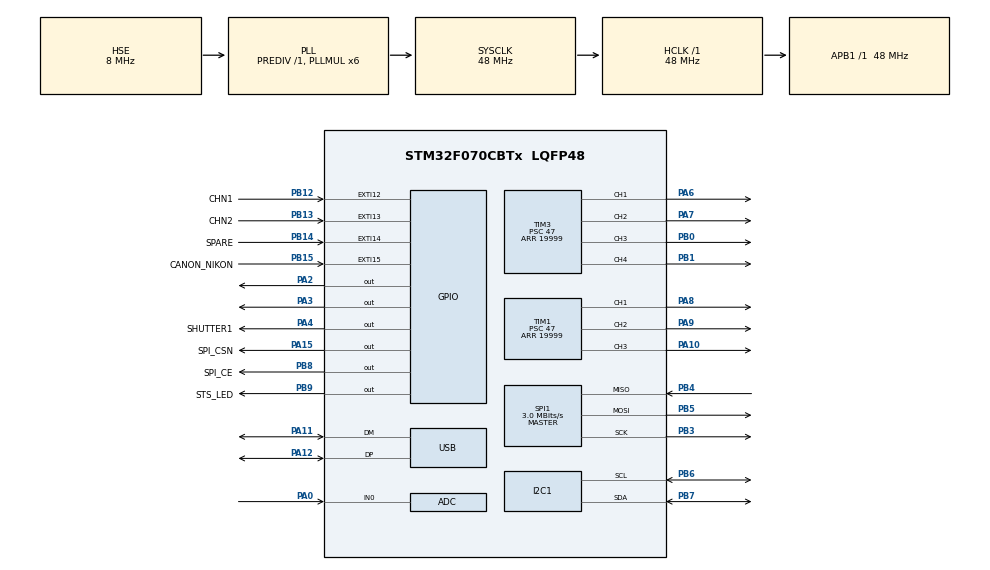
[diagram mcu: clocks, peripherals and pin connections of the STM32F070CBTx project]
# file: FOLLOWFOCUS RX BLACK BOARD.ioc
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ADC.ClockPrescaler=ADC_CLOCK_ASYNC_DIV1
ADC.ContinuousConvMode=ENABLE
ADC.DMAContinuousRequests=ENABLE
ADC.DataAlign=ADC_DATAALIGN_RIGHT
ADC.DiscontinuousConvMode=DISABLE
ADC.EOCSelection=ADC_EOC_SEQ_CONV
ADC.EnableAnalogWatchDog=false
ADC.ExternalTrigConv=ADC_SOFTWARE_START
ADC.ExternalTrigConvEdge=ADC_EXTERNALTRIGCONVEDGE_NONE
ADC.LowPowerAutoPowerOff=DISABLE
ADC.LowPowerAutoWait=DISABLE
ADC.Overrun=ADC_OVR_DATA_PRESERVED
ADC.Resolution=ADC_RESOLUTION_12B
ADC.SamplingTime=ADC_SAMPLETIME_239CYCLES_5
ADC.ScanConvMode=ADC_SCAN_DIRECTION_FORWARD
Dma.ADC.0.Direction=DMA_PERIPH_TO_MEMORY
Dma.ADC.0.Instance=DMA1_Channel1
Dma.ADC.0.MemDataAlignment=DMA_MDATAALIGN_HALFWORD
Dma.ADC.0.MemInc=DMA_MINC_ENABLE
Dma.ADC.0.Mode=DMA_CIRCULAR
Dma.ADC.0.PeriphDataAlignment=DMA_PDATAALIGN_HALFWORD
Dma.ADC.0.PeriphInc=DMA_PINC_DISABLE
Dma.ADC.0.Priority=DMA_PRIORITY_LOW
Dma.Request0=ADC
FREERTOS.Tasks01=defaultTask,0,512,StartDefaultTask,Default,NULL,Dynamic,NULL,NULL
FREERTOS.Timers01=servoCalcPos,servoCalcPosCallback,osTimerPeriodic,Default,NULL,Dynamic,NULL
FREERTOS.configTOTAL_HEAP_SIZE=5000
FREERTOS.configUSE_TIMERS=1
Mcu.Family=STM32F0
Mcu.Name=STM32F070CBTx
Mcu.Package=LQFP48
NVIC.DMA1_Channel1_IRQn=true\:3\:0\:false\:false\:true\:true\:false
NVIC.SPI1_IRQn=true\:3\:0\:false\:false\:true\:true\:true
NVIC.USB_IRQn=true\:3\:0\:false\:false\:true\:true\:false
PA0.Mode=IN0
PA0.Signal=ADC_IN0
PA10.Signal=S_TIM1_CH3
PA11.Mode=Device
PA11.Signal=USB_DM
PA12.Mode=Device
PA12.Signal=USB_DP
PA13.Mode=Serial_Wire
PA13.Signal=SYS_SWDIO
PA14.Mode=Serial_Wire
PA14.Signal=SYS_SWCLK
PA15.GPIO_Label=SPI_CSN
PA15.Signal=GPIO_Output
PA2.Signal=GPIO_Output
PA3.Signal=GPIO_Output
PA4.GPIO_Label=SHUTTER1
PA4.Signal=GPIO_Output
PA6.Signal=S_TIM3_CH1
PA7.Signal=S_TIM3_CH2
PA8.Signal=S_TIM1_CH1
PA9.Signal=S_TIM1_CH2
PB0.Signal=S_TIM3_CH3
PB1.Signal=S_TIM3_CH4
PB12.GPIO_Label=CHN1
PB12.GPIO_PuPd=GPIO_PULLUP
PB12.Signal=GPXTI12
PB13.GPIO_Label=CHN2
PB13.GPIO_PuPd=GPIO_PULLUP
PB13.Signal=GPXTI13
PB14.GPIO_Label=SPARE
PB14.GPIO_PuPd=GPIO_PULLUP
PB14.Signal=GPXTI14
PB15.GPIO_Label=CANON_NIKON
PB15.GPIO_PuPd=GPIO_PULLUP
PB15.Signal=GPXTI15
PB3.Mode=Full_Duplex_Master
PB3.Signal=SPI1_SCK
PB4.Mode=Full_Duplex_Master
PB4.Signal=SPI1_MISO
PB5.Mode=Full_Duplex_Master
PB5.Signal=SPI1_MOSI
PB6.Mode=I2C
PB6.Signal=I2C1_SCL
PB7.Mode=I2C
PB7.Signal=I2C1_SDA
PB8.GPIO_Label=SPI_CE
PB8.Signal=GPIO_Output
PB9.GPIO_Label=STS_LED
PB9.Signal=GPIO_Output
PF0-OSC_IN.Mode=HSE-External-Oscillator
PF0-OSC_IN.Signal=RCC_OSC_IN
PF1-OSC_OUT.Mode=HSE-External-Oscillator
PF1-OSC_OUT.Signal=RCC_OSC_OUT
ProjectManager.HeapSize=0x1600
ProjectManager.StackSize=0x800
ProjectManager.TargetToolchain=EWARM
RCC.AHBFreq_Value=48000000
RCC.APB1Freq_Value=48000000
RCC.APB1TimFreq_Value=48000000
RCC.HCLKFreq_Value=48000000
RCC.PLLMUL=RCC_PLL_MUL6
RCC.SYSCLKFreq_VALUE=48000000
RCC.SYSCLKSource=RCC_SYSCLKSOURCE_PLLCLK
SH.S_TIM1_CH1.0=TIM1_CH1,PWM Generation1 CH1
SH.S_TIM1_CH2.0=TIM1_CH2,PWM Generation2 CH2
SH.S_TIM1_CH3.0=TIM1_CH3,PWM Generation3 CH3
SH.S_TIM3_CH1.0=TIM3_CH1,PWM Generation1 CH1
SH.S_TIM3_CH2.0=TIM3_CH2,PWM Generation2 CH2
SH.S_TIM3_CH3.0=TIM3_CH3,PWM Generation3 CH3
SH.S_TIM3_CH4.0=TIM3_CH4,PWM Generation4 CH4
SPI1.BaudRatePrescaler=SPI_BAUDRATEPRESCALER_16
SPI1.CalculateBaudRate=3.0 MBits/s
SPI1.DataSize=SPI_DATASIZE_8BIT
SPI1.Direction=SPI_DIRECTION_2LINES
SPI1.Mode=SPI_MODE_MASTER
SPI1.VirtualType=VM_MASTER
TIM1.Channel-PWM\ Generation1\ CH1=TIM_CHANNEL_1
TIM1.Channel-PWM\ Generation2\ CH2=TIM_CHANNEL_2
TIM1.Channel-PWM\ Generation3\ CH3=TIM_CHANNEL_3
TIM1.Period=19999
TIM1.Prescaler=47
TIM3.Channel-PWM\ Generation1\ CH1=TIM_CHANNEL_1
TIM3.Channel-PWM\ Generation2\ CH2=TIM_CHANNEL_2
TIM3.Channel-PWM\ Generation3\ CH3=TIM_CHANNEL_3
TIM3.Channel-PWM\ Generation4\ CH4=TIM_CHANNEL_4
TIM3.Period=19999
TIM3.Prescaler=47
USB_DEVICE.APP_RX_DATA_SIZE=512
USB_DEVICE.APP_TX_DATA_SIZE=512
USB_DEVICE.CLASS_NAME_FS=CDC
USB_DEVICE.MANUFACTURER_STRING=STM32 Virtual COM
USB_DEVICE.PRODUCT_STRING_CDC_FS=Followfocus - Receiver - COM Port
USB_DEVICE.SERIALNUMBER_STRING_CDC_FS=0x01 beta
USB_DEVICE.VirtualMode=Cdc
USB_DEVICE.VirtualModeFS=Cdc_FS
VP_FREERTOS_VS_ENABLE.Mode=Enabled
VP_TIM1_VS_ClockSourceINT.Mode=Internal
VP_TIM3_VS_ClockSourceINT.Mode=Internal
VP_USB_DEVICE_VS_USB_DEVICE_CDC_FS.Mode=CDC_FS
board=FOLLOWFOCUS RX BLACK BOARD

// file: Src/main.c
/**
  ******************************************************************************
  * File Name          : main.c
  * Description        : Main program body
  ******************************************************************************
  * This notice applies to any and all portions of this file
  * that are not between comment pairs USER CODE BEGIN and
  * USER CODE END. Other portions of this file, whether
  * inserted by the user or by software development tools
  * are owned by their respective copyright owners.
  *
  * Copyright (c) 2018 STMicroelectronics International N.V.
  * All rights reserved.
  *
  * Redistribution and use in source and binary forms, with or without
  * modification, are permitted, provided that the following conditions are met:
  *
  * 1. Redistribution of source code must retain the above copyright notice,
  *    this list of conditions and the following disclaimer.
  * 2. Redistributions in binary form must reproduce the above copyright notice,
  *    this list of conditions and the following disclaimer in the documentation
  *    and/or other materials provided with the distribution.
  * 3. Neither the name of STMicroelectronics nor the names of other
  *    contributors to this software may be used to endorse or promote products
  *    derived from this software without specific written permission.
  * 4. This software, including modifications and/or derivative works of this
  *    software, must execute solely and exclusively on microcontroller or
  *    microprocessor devices manufactured by or for STMicroelectronics.
  * 5. Redistribution and use of this software other than as permitted under
  *    this license is void and will automatically terminate your rights under
  *    this license.
  *
  * THIS SOFTWARE IS PROVIDED BY STMICROELECTRONICS AND CONTRIBUTORS "AS IS"
  * AND ANY EXPRESS, IMPLIED OR STATUTORY WARRANTIES, INCLUDING, BUT NOT
  * LIMITED TO, THE IMPLIED WARRANTIES OF MERCHANTABILITY, FITNESS FOR A
  * PARTICULAR PURPOSE AND NON-INFRINGEMENT OF THIRD PARTY INTELLECTUAL PROPERTY
  * RIGHTS ARE DISCLAIMED TO THE FULLEST EXTENT PERMITTED BY LAW. IN NO EVENT
  * SHALL STMICROELECTRONICS OR CONTRIBUTORS BE LIABLE FOR ANY DIRECT, INDIRECT,
  * INCIDENTAL, SPECIAL, EXEMPLARY, OR CONSEQUENTIAL DAMAGES (INCLUDING, BUT NOT
  * LIMITED TO, PROCUREMENT OF SUBSTITUTE GOODS OR SERVICES; LOSS OF USE, DATA,
  * OR PROFITS; OR BUSINESS INTERRUPTION) HOWEVER CAUSED AND ON ANY THEORY OF
  * LIABILITY, WHETHER IN CONTRACT, STRICT LIABILITY, OR TORT (INCLUDING
  * NEGLIGENCE OR OTHERWISE) ARISING IN ANY WAY OUT OF THE USE OF THIS SOFTWARE,
  * EVEN IF ADVISED OF THE POSSIBILITY OF SUCH DAMAGE.
  *
  ******************************************************************************
  */

#include "main.h"
#include "stm32f0xx_hal.h"
#include "cmsis_os.h"
#include "adc.h"
#include "dma.h"
#include "i2c.h"
#include "spi.h"
#include "tim.h"
#include "usb_device.h"
#include "gpio.h"

/* USER CODE BEGIN Includes */
#include "nrf24l01.h"
#include "wireless_receive.h"
#include "servos.h"
#include "servos_abstract.h"
#include "usbd_cdc_if.h"
/* USER CODE END Includes */

/* USER CODE BEGIN PV */
/* Private variables ---------------------------------------------------------*/
servos_t s[NUM_OF_SERVOS];
/* USER CODE END PV */

void SystemClock_Config(void);
void MX_FREERTOS_Init(void);

/* USER CODE BEGIN PFP */
/* Private function prototypes -----------------------------------------------*/

/* USER CODE END PFP */

/* USER CODE BEGIN 0 */

uint16_t ADC_RAW;
extern user_parameters_t user;
/* My address */
uint8_t MyAddress[] = {
  0xE7,
  0xE7,
  0xE7,
  0xE7,
  0xE7
};
/* Receiver address */
uint8_t TxAddress[] = {
  0x7E,
  0x7E,
  0x7E,
  0x7E,
  0x7E
};

/* USER CODE END 0 */

int main(void)
{

  /* MCU Configuration----------------------------------------------------------*/

  /* Reset of all peripherals, Initializes the Flash interface and the Systick. */
  HAL_Init();

  /* Configure the system clock */
  SystemClock_Config();

  /* Initialize all configured peripherals */
  MX_GPIO_Init();
  MX_DMA_Init();
  MX_ADC_Init();
  MX_I2C1_Init();
  MX_SPI1_Init();
  MX_TIM1_Init();
  MX_TIM3_Init();

  /* USER CODE BEGIN 2 */
  HAL_Delay(10);
  /* Initialize NRF24L01+ on channel 15 and 32bytes of payload */
  /* By default 2Mbps data rate and 0dBm output power */
  /* NRF24L01 goes to RX mode by default */
  TM_NRF24L01_Init(100, 18);

  /* Set 2MBps data rate and -18dBm output power */
  TM_NRF24L01_SetRF(TM_NRF24L01_DataRate_2M, TM_NRF24L01_OutputPower_0dBm);

  TM_NRF24L01_SetMyAddress(TxAddress);
  TM_NRF24L01_SetTxAddress(MyAddress);
  HAL_Delay(5);
  TM_NRF24L01_PowerUpRx();

    /* init servo object to start conditions */
  for(uint8_t i = 0; i<NUM_OF_SERVOS; i++)
    s_init(&s[i]);

  /* start PWM generation */
  startServoPWM();

  /* set pos to center */
  for(uint8_t i = 0; i<NUM_OF_SERVOS; i++)
    setServoMicros(i, (user.limitLeft[i] + user.limitRight[i])/2);

  /* start PWM generation */
  startGimbalPWM();

  /* set pos to center */
  for(uint8_t i = 0; i<NUM_OF_GIMBAL_OUTPUTS; i++)
    setGimbalMicros(i, 1500);

  HAL_ADC_Start_DMA(&hadc, (uint32_t*)&ADC_RAW, 1);
  /* USER CODE END 2 */

  /* Call init function for freertos objects (in freertos.c) */
  MX_FREERTOS_Init();

  /* Start scheduler */
  osKernelStart();

  /* We should never get here as control is now taken by the scheduler */

  /* Infinite loop */
  while (1)
  {

  }

}

/** System Clock Configuration
*/
void SystemClock_Config(void)
{

  RCC_OscInitTypeDef RCC_OscInitStruct;
  RCC_ClkInitTypeDef RCC_ClkInitStruct;
  RCC_PeriphCLKInitTypeDef PeriphClkInit;

    /**Initializes the CPU, AHB and APB busses clocks
    */
  RCC_OscInitStruct.OscillatorType = RCC_OSCILLATORTYPE_HSI|RCC_OSCILLATORTYPE_HSI14
                              |RCC_OSCILLATORTYPE_HSE;
  RCC_OscInitStruct.HSEState = RCC_HSE_ON;
  RCC_OscInitStruct.HSIState = RCC_HSI_ON;
  RCC_OscInitStruct.HSI14State = RCC_HSI14_ON;
  RCC_OscInitStruct.HSICalibrationValue = 16;
  RCC_OscInitStruct.HSI14CalibrationValue = 16;
  RCC_OscInitStruct.PLL.PLLState = RCC_PLL_ON;
  RCC_OscInitStruct.PLL.PLLSource = RCC_PLLSOURCE_HSE;
  RCC_OscInitStruct.PLL.PLLMUL = RCC_PLL_MUL6;
  RCC_OscInitStruct.PLL.PREDIV = RCC_PREDIV_DIV1;
  if (HAL_RCC_OscConfig(&RCC_OscInitStruct) != HAL_OK)
  {
    _Error_Handler(__FILE__, __LINE__);
  }

    /**Initializes the CPU, AHB and APB busses clocks
    */
  RCC_ClkInitStruct.ClockType = RCC_CLOCKTYPE_HCLK|RCC_CLOCKTYPE_SYSCLK
                              |RCC_CLOCKTYPE_PCLK1;
  RCC_ClkInitStruct.SYSCLKSource = RCC_SYSCLKSOURCE_PLLCLK;
  RCC_ClkInitStruct.AHBCLKDivider = RCC_SYSCLK_DIV1;
  RCC_ClkInitStruct.APB1CLKDivider = RCC_HCLK_DIV1;

  if (HAL_RCC_ClockConfig(&RCC_ClkInitStruct, FLASH_LATENCY_1) != HAL_OK)
  {
    _Error_Handler(__FILE__, __LINE__);
  }

  PeriphClkInit.PeriphClockSelection = RCC_PERIPHCLK_USB|RCC_PERIPHCLK_I2C1;
  PeriphClkInit.I2c1ClockSelection = RCC_I2C1CLKSOURCE_HSI;
  PeriphClkInit.UsbClockSelection = RCC_USBCLKSOURCE_PLL;

  if (HAL_RCCEx_PeriphCLKConfig(&PeriphClkInit) != HAL_OK)
  {
    _Error_Handler(__FILE__, __LINE__);
  }

    /**Configure the Systick interrupt time
    */
  HAL_SYSTICK_Config(HAL_RCC_GetHCLKFreq()/1000);

    /**Configure the Systick
    */
  HAL_SYSTICK_CLKSourceConfig(SYSTICK_CLKSOURCE_HCLK);

  /* SysTick_IRQn interrupt configuration */
  HAL_NVIC_SetPriority(SysTick_IRQn, 3, 0);
}

void _Error_Handler(char * file, int line)
{
  while(1)
  {
  }
}

/************************ (C) COPYRIGHT STMicroelectronics *****END OF FILE****/

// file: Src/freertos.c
/**
  ******************************************************************************
  * File Name          : freertos.c
  * Description        : Code for freertos applications
  ******************************************************************************
  * This notice applies to any and all portions of this file
  * that are not between comment pairs USER CODE BEGIN and
  * USER CODE END. Other portions of this file, whether
  * inserted by the user or by software development tools
  * are owned by their respective copyright owners.
  *
  * Copyright (c) 2018 STMicroelectronics International N.V.
  * All rights reserved.
  *
  * Redistribution and use in source and binary forms, with or without
  * modification, are permitted, provided that the following conditions are met:
  *
  * 1. Redistribution of source code must retain the above copyright notice,
  *    this list of conditions and the following disclaimer.
  * 2. Redistributions in binary form must reproduce the above copyright notice,
  *    this list of conditions and the following disclaimer in the documentation
  *    and/or other materials provided with the distribution.
  * 3. Neither the name of STMicroelectronics nor the names of other
  *    contributors to this software may be used to endorse or promote products
  *    derived from this software without specific written permission.
  * 4. This software, including modifications and/or derivative works of this
  *    software, must execute solely and exclusively on microcontroller or
  *    microprocessor devices manufactured by or for STMicroelectronics.
  * 5. Redistribution and use of this software other than as permitted under
  *    this license is void and will automatically terminate your rights under
  *    this license.
  *
  * THIS SOFTWARE IS PROVIDED BY STMICROELECTRONICS AND CONTRIBUTORS "AS IS"
  * AND ANY EXPRESS, IMPLIED OR STATUTORY WARRANTIES, INCLUDING, BUT NOT
  * LIMITED TO, THE IMPLIED WARRANTIES OF MERCHANTABILITY, FITNESS FOR A
  * PARTICULAR PURPOSE AND NON-INFRINGEMENT OF THIRD PARTY INTELLECTUAL PROPERTY
  * RIGHTS ARE DISCLAIMED TO THE FULLEST EXTENT PERMITTED BY LAW. IN NO EVENT
  * SHALL STMICROELECTRONICS OR CONTRIBUTORS BE LIABLE FOR ANY DIRECT, INDIRECT,
  * INCIDENTAL, SPECIAL, EXEMPLARY, OR CONSEQUENTIAL DAMAGES (INCLUDING, BUT NOT
  * LIMITED TO, PROCUREMENT OF SUBSTITUTE GOODS OR SERVICES; LOSS OF USE, DATA,
  * OR PROFITS; OR BUSINESS INTERRUPTION) HOWEVER CAUSED AND ON ANY THEORY OF
  * LIABILITY, WHETHER IN CONTRACT, STRICT LIABILITY, OR TORT (INCLUDING
  * NEGLIGENCE OR OTHERWISE) ARISING IN ANY WAY OUT OF THE USE OF THIS SOFTWARE,
  * EVEN IF ADVISED OF THE POSSIBILITY OF SUCH DAMAGE.
  *
  ******************************************************************************
  */

#include "FreeRTOS.h"
#include "task.h"
#include "cmsis_os.h"

/* USER CODE BEGIN Includes */
#include "nrf24l01.h"
#include "wireless_receive.h"
#include "servos.h"
#include "servos_abstract.h"
#include "usbd_cdc_if.h"
#include "eeprom_emulator.h"
/* USER CODE END Includes */

osThreadId defaultTaskHandle;
osTimerId servoCalcPosHandle;

/* USER CODE BEGIN Variables */
uint16_t positions[] = {0, 0, 0};
uint8_t speeds[] = {0, 0, 0};
uint8_t joy_positions[] = {0, 0, 0};
extern user_parameters_t user;
uint8_t dataIn[18];
uint8_t toSendBack[18];
extern servos_t s[NUM_OF_SERVOS];
extern volatile uint16_t servo_ticks[NUM_OF_SERVOS];
uint8_t receivedNewCalibration = 0;

/* USER CODE END Variables */

void StartDefaultTask(void const * argument);
void servoCalcPosCallback(void const * argument);

extern void MX_USB_DEVICE_Init(void);
void MX_FREERTOS_Init(void); /* (MISRA C 2004 rule 8.1) */

/* Hook prototypes */

/* Init FreeRTOS */

void MX_FREERTOS_Init(void) {

  /* Create the timer(s) */
  /* definition and creation of servoCalcPos */
  osTimerDef(servoCalcPos, servoCalcPosCallback);
  servoCalcPosHandle = osTimerCreate(osTimer(servoCalcPos), osTimerPeriodic, NULL);

  /* Create the thread(s) */
  /* definition and creation of defaultTask */
  osThreadDef(defaultTask, StartDefaultTask, osPriorityNormal, 0, 512);
  defaultTaskHandle = osThreadCreate(osThread(defaultTask), NULL);

}

/* StartDefaultTask function */
void StartDefaultTask(void const * argument)
{
  /* init code for USB_DEVICE */
  MX_USB_DEVICE_Init();

  /* USER CODE BEGIN StartDefaultTask */
  TM_NRF24L01_Transmit_Status_t transmissionStatus;
  userParmetersInit(&user);
  ReadFromFlash(&user, sizeof(user), SECTOR31_FLASH_BEGINING); //read calibration data

  osTimerStart(servoCalcPosHandle, 20U);

  /* Infinite loop */
  for(;;)
  {
    if (TM_NRF24L01_DataReady()) {
      HAL_GPIO_TogglePin(GPIOB, STS_LED_Pin);
      TM_NRF24L01_GetData(dataIn);

      parseIncomingData(dataIn, &positions[0], &speeds[0], &joy_positions[0], &user);

      for(uint8_t i = 0; i<NUM_OF_SERVOS; i++)
        servoWriteToServoObject(i, &s[i], positions[i], speeds[i] >> 2);

      for(uint8_t i = 0; i<NUM_OF_GIMBAL_OUTPUTS; i++)
        setGimbalOutputs(i, joy_positions[i]);

      if(!receivedNewCalibration)
      {
        char capacityAscii[4];
        getCapacityInAscii(capacityAscii);

        generateFeedbackMsg(toSendBack, (uint8_t *)capacityAscii, 4); //remove cast?
      }else
      {
        generateReceivedOkMsg(toSendBack);
        receivedNewCalibration = 0;
      }

      TM_NRF24L01_Transmit(toSendBack);
      do {
        transmissionStatus = TM_NRF24L01_GetTransmissionStatus();
      } while (transmissionStatus == TM_NRF24L01_Transmit_Status_Sending);

      TM_NRF24L01_PowerUpRx();

    }
    osDelay(3);
  }
  /* USER CODE END StartDefaultTask */
}

/* servoCalcPosCallback function */
void servoCalcPosCallback(void const * argument)
{
  /* USER CODE BEGIN servoCalcPosCallback */
  for(uint8_t i = 0; i<NUM_OF_SERVOS; i++)
  {
    if(s[i].setSpeed)
    {
      if(s[i].setPos  > servo_ticks[i])
      {
        servo_ticks[i] += s[i].setSpeed;
        if(s[i].setPos <= servo_ticks[i])
        {
          servo_ticks[i] = s[i].setPos;
          s[i].setSpeed = 0;
        }
      }
      else
      {
        servo_ticks[i] -= s[i].setSpeed;
        if(s[i].setPos >= servo_ticks[i])
        {
          servo_ticks[i] = s[i].setPos ;
          s[i].setSpeed = 0;
        }
      }
    }
    setServoMicros(i, servo_ticks[i]);
  }
  /* USER CODE END servoCalcPosCallback */
}

/************************ (C) COPYRIGHT STMicroelectronics *****END OF FILE****/
